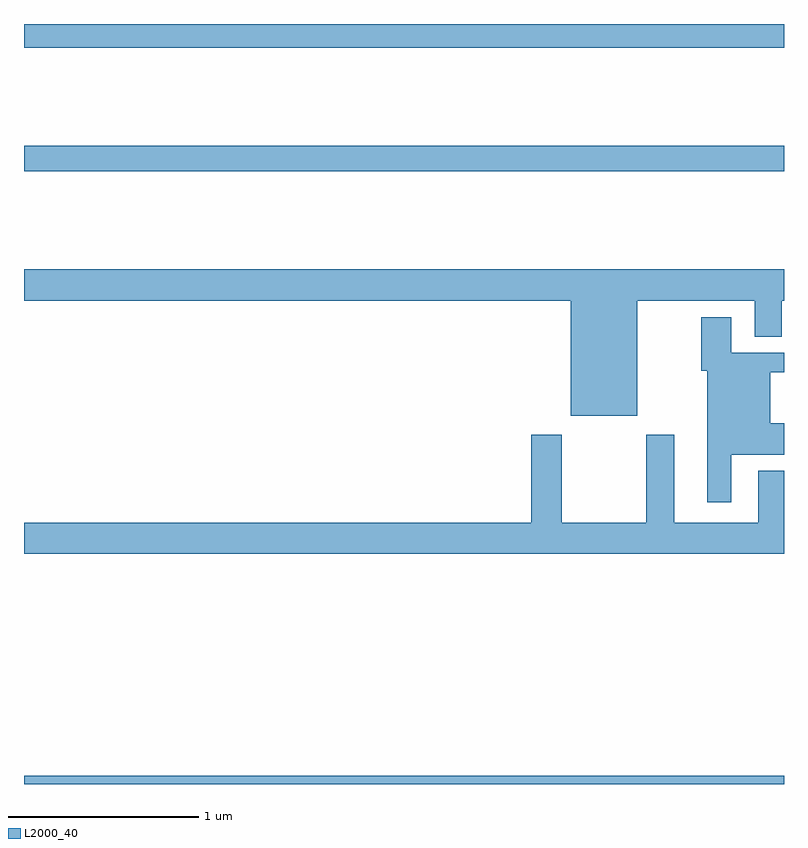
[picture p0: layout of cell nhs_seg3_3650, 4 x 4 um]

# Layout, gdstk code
import gdstk
lib = gdstk.Library(unit=1e-6, precision=1e-09)
def R(c, l, rs):  # rectangles x0, y0, x1, y1
    for r in rs: c.add(gdstk.rectangle(r[:2], r[2:], *l))
def P(c, l, *ps):  # polygons
    for p in ps: c.add(gdstk.Polygon(p, *l))
L2000_40 = (2000, 40)

nhs_seg3_3650 = lib.new_cell('nhs_seg3_3650')
R(nhs_seg3_3650, L2000_40, [(301,670.4,305,670.444), (301,673.624,305,673.76), (301,674.276,305,674.4)])
P(nhs_seg3_3650, L2000_40, [(304.228,672.944),(304.847,672.944),(304.847,672.754),(304.987,672.754),(304.987,672.944),(305,672.944),(305,673.108),(301,673.108),(301,672.944),(303.878,672.944),(303.878,672.338),(304.228,672.338)],
  [(304.723,672.134),(305,672.134),(305,672.298),(304.927,672.298),(304.927,672.568),(305,672.568),(305,672.669),(304.723,672.669),(304.723,672.856),(304.564,672.856),(304.564,672.576),(304.595,672.576),(304.595,671.883),(304.723,671.883)],
  [(305,672.049),(304.865,672.049),(304.865,671.776),(304.423,671.776),(304.423,672.238),(304.276,672.238),(304.276,671.776),(303.831,671.776),(303.831,672.238),(303.671,672.238),(303.671,671.776),(301,671.776),(301,671.612),(305,671.612)])

lib.write_gds('nhs_seg3_3650.gds')
